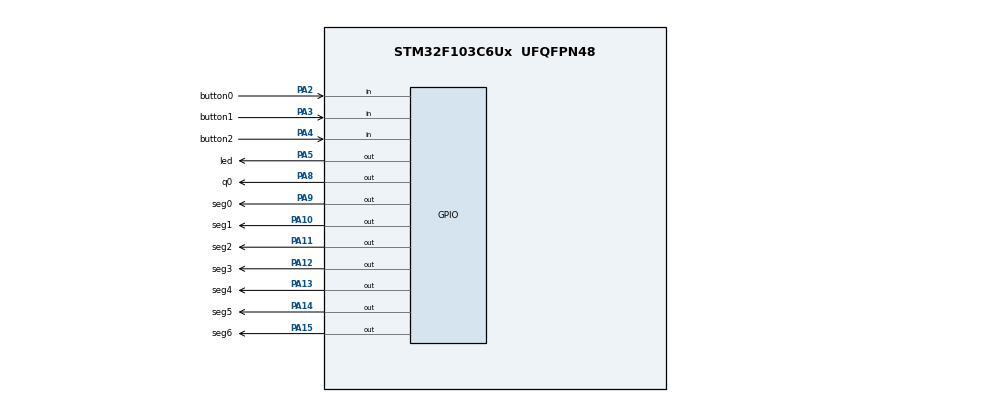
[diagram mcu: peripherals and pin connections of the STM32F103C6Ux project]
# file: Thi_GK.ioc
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Mcu.Family=STM32F1
Mcu.Name=STM32F103C6Ux
Mcu.Package=UFQFPN48
NVIC.PriorityGroup=NVIC_PRIORITYGROUP_4
NVIC.TIM2_IRQn=true\:0\:0\:false\:false\:true\:true\:true\:true
PA10.GPIO_Label=seg1
PA10.Signal=GPIO_Output
PA11.GPIO_Label=seg2
PA11.Signal=GPIO_Output
PA12.GPIO_Label=seg3
PA12.Signal=GPIO_Output
PA13.GPIO_Label=seg4
PA13.Signal=GPIO_Output
PA14.GPIO_Label=seg5
PA14.Signal=GPIO_Output
PA15.GPIO_Label=seg6
PA15.Signal=GPIO_Output
PA2.GPIO_Label=button0
PA2.Signal=GPIO_Input
PA3.GPIO_Label=button1
PA3.Signal=GPIO_Input
PA4.GPIO_Label=button2
PA4.Signal=GPIO_Input
PA5.GPIO_Label=led
PA5.Signal=GPIO_Output
PA8.GPIO_Label=q0
PA8.Signal=GPIO_Output
PA9.GPIO_Label=seg0
PA9.Signal=GPIO_Output
ProjectManager.HeapSize=0x200
ProjectManager.StackSize=0x400
ProjectManager.TargetToolchain=STM32CubeIDE
RCC.APB1Freq_Value=8000000
RCC.APB2Freq_Value=8000000
TIM2.Period=9
TIM2.Prescaler=7999
VP_TIM2_VS_ClockSourceINT.Mode=Internal
board=custom

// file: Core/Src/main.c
/* USER CODE BEGIN Header */
/**
  ******************************************************************************
  * @file           : main.c
  * @brief          : Main program body
  ******************************************************************************
  * @attention
  *
  * Copyright (c) 2022 STMicroelectronics.
  * All rights reserved.
  *
  * This software is licensed under terms that can be found in the LICENSE file
  * in the root directory of this software component.
  * If no LICENSE file comes with this software, it is provided AS-IS.
  *
  ******************************************************************************
  */
/* USER CODE END Header */
#include "main.h"

/* USER CODE BEGIN Includes */
#include "button.h"
#include "global.h"
#include "output_display.h"
#include "software_timer.h"
#include "fsm_simple_buttons_run.h"
#include "fsm_count.h"
/* USER CODE END Includes */

TIM_HandleTypeDef htim2;

void SystemClock_Config(void);
static void MX_GPIO_Init(void);
static void MX_TIM2_Init(void);

int main(void)
{

  /* MCU Configuration--------------------------------------------------------*/

  /* Reset of all peripherals, Initializes the Flash interface and the Systick. */
  HAL_Init();

  /* Configure the system clock */
  SystemClock_Config();

  /* Initialize all configured peripherals */
  MX_GPIO_Init();
  MX_TIM2_Init();
  /* USER CODE BEGIN 2 */
  HAL_TIM_Base_Start_IT(&htim2);
  /* USER CODE END 2 */

  /* Infinite loop */
  /* USER CODE BEGIN WHILE */

  status = INIT;
  HAL_GPIO_WritePin(led_GPIO_Port, led_Pin, SET);
  setTimer5(10);

  while (1)
  {
	  fsm_simple_buttons_run();
	  fsm_count_run();
	  LedBlinky();
    /* USER CODE END WHILE */

  }
}

void SystemClock_Config(void)
{
  RCC_OscInitTypeDef RCC_OscInitStruct = {0};
  RCC_ClkInitTypeDef RCC_ClkInitStruct = {0};

  /** Initializes the RCC Oscillators according to the specified parameters
  * in the RCC_OscInitTypeDef structure.
  */
  RCC_OscInitStruct.OscillatorType = RCC_OSCILLATORTYPE_HSI;
  RCC_OscInitStruct.HSIState = RCC_HSI_ON;
  RCC_OscInitStruct.HSICalibrationValue = RCC_HSICALIBRATION_DEFAULT;
  RCC_OscInitStruct.PLL.PLLState = RCC_PLL_NONE;
  if (HAL_RCC_OscConfig(&RCC_OscInitStruct) != HAL_OK)
  {
    Error_Handler();
  }

  /** Initializes the CPU, AHB and APB buses clocks
  */
  RCC_ClkInitStruct.ClockType = RCC_CLOCKTYPE_HCLK|RCC_CLOCKTYPE_SYSCLK
                              |RCC_CLOCKTYPE_PCLK1|RCC_CLOCKTYPE_PCLK2;
  RCC_ClkInitStruct.SYSCLKSource = RCC_SYSCLKSOURCE_HSI;
  RCC_ClkInitStruct.AHBCLKDivider = RCC_SYSCLK_DIV1;
  RCC_ClkInitStruct.APB1CLKDivider = RCC_HCLK_DIV1;
  RCC_ClkInitStruct.APB2CLKDivider = RCC_HCLK_DIV1;

  if (HAL_RCC_ClockConfig(&RCC_ClkInitStruct, FLASH_LATENCY_0) != HAL_OK)
  {
    Error_Handler();
  }
}

static void MX_TIM2_Init(void)
{

  TIM_ClockConfigTypeDef sClockSourceConfig = {0};
  TIM_MasterConfigTypeDef sMasterConfig = {0};

  htim2.Instance = TIM2;
  htim2.Init.Prescaler = 7999;
  htim2.Init.CounterMode = TIM_COUNTERMODE_UP;
  htim2.Init.Period = 9;
  htim2.Init.ClockDivision = TIM_CLOCKDIVISION_DIV1;
  htim2.Init.AutoReloadPreload = TIM_AUTORELOAD_PRELOAD_DISABLE;
  if (HAL_TIM_Base_Init(&htim2) != HAL_OK)
  {
    Error_Handler();
  }
  sClockSourceConfig.ClockSource = TIM_CLOCKSOURCE_INTERNAL;
  if (HAL_TIM_ConfigClockSource(&htim2, &sClockSourceConfig) != HAL_OK)
  {
    Error_Handler();
  }
  sMasterConfig.MasterOutputTrigger = TIM_TRGO_RESET;
  sMasterConfig.MasterSlaveMode = TIM_MASTERSLAVEMODE_DISABLE;
  if (HAL_TIMEx_MasterConfigSynchronization(&htim2, &sMasterConfig) != HAL_OK)
  {
    Error_Handler();
  }

}

static void MX_GPIO_Init(void)
{
  GPIO_InitTypeDef GPIO_InitStruct = {0};

  /* GPIO Ports Clock Enable */
  __HAL_RCC_GPIOA_CLK_ENABLE();

  /*Configure GPIO pin Output Level */
  HAL_GPIO_WritePin(GPIOA, led_Pin|q0_Pin|seg0_Pin|seg1_Pin
                          |seg2_Pin|seg3_Pin|seg4_Pin|seg5_Pin
                          |seg6_Pin, GPIO_PIN_RESET);

  /*Configure GPIO pins : button0_Pin button1_Pin button2_Pin */
  GPIO_InitStruct.Pin = button0_Pin|button1_Pin|button2_Pin;
  GPIO_InitStruct.Mode = GPIO_MODE_INPUT;
  GPIO_InitStruct.Pull = GPIO_NOPULL;
  HAL_GPIO_Init(GPIOA, &GPIO_InitStruct);

  /*Configure GPIO pins : led_Pin q0_Pin seg0_Pin seg1_Pin
                           seg2_Pin seg3_Pin seg4_Pin seg5_Pin
                           seg6_Pin */
  GPIO_InitStruct.Pin = led_Pin|q0_Pin|seg0_Pin|seg1_Pin
                          |seg2_Pin|seg3_Pin|seg4_Pin|seg5_Pin
                          |seg6_Pin;
  GPIO_InitStruct.Mode = GPIO_MODE_OUTPUT_PP;
  GPIO_InitStruct.Pull = GPIO_NOPULL;
  GPIO_InitStruct.Speed = GPIO_SPEED_FREQ_LOW;
  HAL_GPIO_Init(GPIOA, &GPIO_InitStruct);

}

/* USER CODE BEGIN 4 */
void HAL_TIM_PeriodElapsedCallback (TIM_HandleTypeDef* htim) {
	timerRun();
	getKeyInput();
}
/* USER CODE END 4 */

void Error_Handler(void)
{
  __disable_irq();
  while (1)
  {
  }
}
